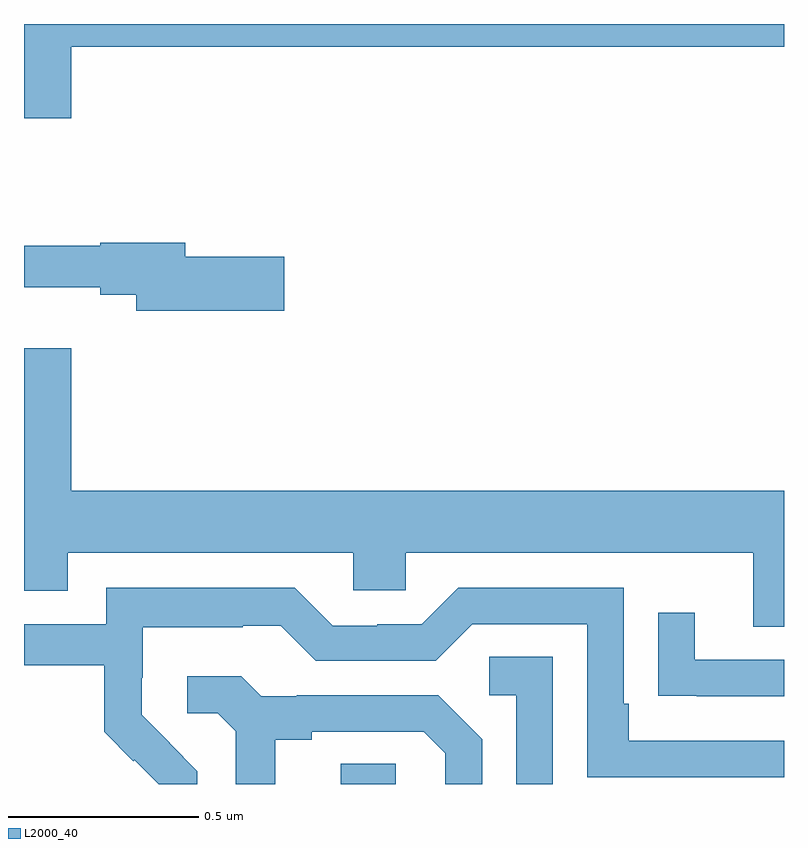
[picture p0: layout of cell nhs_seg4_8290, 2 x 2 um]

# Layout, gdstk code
import gdstk
lib = gdstk.Library(unit=1e-6, precision=1e-09)
def R(c, l, rs):  # rectangles x0, y0, x1, y1
    for r in rs: c.add(gdstk.rectangle(r[:2], r[2:], *l))
def P(c, l, *ps):  # polygons
    for p in ps: c.add(gdstk.Polygon(p, *l))
L2000_40 = (2000, 40)

nhs_seg4_8290 = lib.new_cell('nhs_seg4_8290')
R(nhs_seg4_8290, L2000_40, [(213.833,774.9,213.978,774.953)])
P(nhs_seg4_8290, L2000_40, [(213.124,776.84),(215,776.84),(215,776.9),(213,776.9),(213,776.652),(213.124,776.652)],
  [(213.685,776.288),(213.424,776.288),(213.424,776.324),(213.2,776.324),(213.2,776.317),(213,776.317),(213,776.207),(213.2,776.207),(213.2,776.188),(213.296,776.188),(213.296,776.146),(213.685,776.146)],
  [(215,775.672),(213.124,775.672),(213.124,776.047),(213,776.047),(213,775.409),(213.115,775.409),(213.115,775.508),(213.867,775.508),(213.867,775.41),(214.005,775.41),(214.005,775.508),(214.919,775.508),(214.919,775.314),(215,775.314)],
  [(213.456,774.934),(213.383,775.007),(213.384,775.008),(213.31,775.082),(213.31,775.179),(213.312,775.179),(213.312,775.313),(213.575,775.313),(213.575,775.317),(213.675,775.317),(213.768,775.224),(214.083,775.224),(214.179,775.32),(214.482,775.32),(214.482,774.918),(215,774.918),(215,775.014),(214.591,775.014),(214.591,775.111),(214.578,775.111),(214.578,775.416),(214.143,775.416),(214.047,775.32),(213.929,775.32),(213.929,775.317),(213.813,775.317),(213.713,775.417),(213.216,775.417),(213.216,775.32),(213,775.32),(213,775.212),(213.211,775.212),(213.211,775.037),(213.288,774.96),(213.291,774.963),(213.355,774.9),(213.456,774.9)],
  [(215,775.227),(214.765,775.227),(214.765,775.351),(214.669,775.351),(214.669,775.132),(214.771,775.132),(214.771,775.131),(215,775.131)],
  [(214.392,775.235),(214.224,775.235),(214.224,775.134),(214.296,775.134),(214.296,774.9),(214.392,774.9)],
  [(213.661,775.016),(213.757,775.016),(213.757,775.038),(214.052,775.038),(214.109,774.981),(214.109,774.9),(214.206,774.9),(214.206,775.018),(214.09,775.134),(213.718,775.134),(213.718,775.131),(213.624,775.131),(213.572,775.183),(213.429,775.183),(213.429,775.086),(213.51,775.086),(213.557,775.039),(213.557,774.9),(213.661,774.9)])

lib.write_gds('nhs_seg4_8290.gds')
